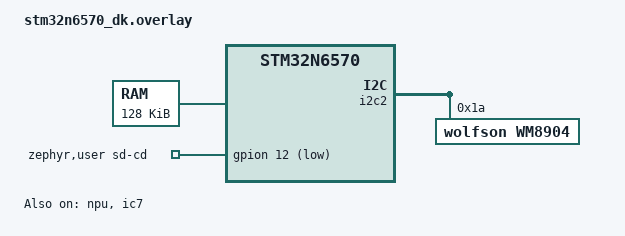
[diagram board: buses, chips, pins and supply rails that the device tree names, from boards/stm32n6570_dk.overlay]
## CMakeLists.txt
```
# SPDX-License-Identifier: Apache-2.0
cmake_minimum_required(VERSION 3.20.0)

# The camera module in the CSI connector: ST B-CAMS-IMX (MB1854, IMX335).
set(SHIELD st_b_cams_imx_mb1854)

# zprof (https://github.com/murr2k/zprof), the tracer, is part of the build: its Zephyr
# module and the demo's settings for it (zprof.conf). West fetches it into zprof/; its
# module sits in firmware/zprof, where module discovery does not look, so it is added
# here. -DZPROF=OFF (n6.cmd --no-zprof) builds without it: the SystemView build, and the
# observer A/B. -DZPROF_DIR=... (n6.cmd --zprof DIR) takes another checkout.
set(zprof_default_dir ${CMAKE_CURRENT_LIST_DIR}/../zprof)
option(ZPROF "zprof, the tracer: its module from ZPROF_DIR and zprof.conf" ON)
set(ZPROF_DIR ${zprof_default_dir} CACHE PATH "zprof checkout (west update fetches it)")
# Under sysbuild, -Dapp_ZPROF and -Dapp_ZPROF_DIR reach this image only in its
# sysbuild cache, which Zephyr's zephyr_get() reads only after find_package: read
# them here. Not given means the default, so a build's choice never sticks.
if(SYSBUILD AND EXISTS "${SYSBUILD_CACHE}")
  get_filename_component(zprof_img "${SYSBUILD_CACHE}" NAME)
  string(REGEX REPLACE "_sysbuild_cache\\.txt$" "" zprof_img "${zprof_img}")
  file(STRINGS "${SYSBUILD_CACHE}" zprof_sb REGEX "^${zprof_img}_ZPROF(_DIR)?:" ENCODING UTF-8)
  set(ZPROF ON)
  set(ZPROF_DIR ${zprof_default_dir})
  foreach(zprof_line ${zprof_sb})
    if(zprof_line MATCHES "^${zprof_img}_ZPROF:[^=]*=(.*)$")
      set(ZPROF ${CMAKE_MATCH_1})
    elseif(zprof_line MATCHES "^${zprof_img}_ZPROF_DIR:[^=]*=(.*)$")
      set(ZPROF_DIR ${CMAKE_MATCH_1})
    endif()
  endforeach()
endif()
if(ZPROF)
  if(NOT EXISTS ${ZPROF_DIR}/firmware/zprof/zephyr/module.yml)
    message(FATAL_ERROR "no zprof at ${ZPROF_DIR}: run west update (or build with -DZPROF=OFF)")
  endif()
  list(APPEND ZEPHYR_EXTRA_MODULES ${ZPROF_DIR}/firmware/zprof)
  list(APPEND EXTRA_CONF_FILE ${CMAKE_CURRENT_LIST_DIR}/zprof.conf)
endif()

find_package(Zephyr REQUIRED HINTS $ENV{ZEPHYR_BASE})
project(n6_demo)

file(GLOB_RECURSE app_sources CONFIGURE_DEPENDS src/*.c)
target_sources(app PRIVATE ${app_sources})
target_include_directories(app PRIVATE src)

# Zephyr's symbol table (CONFIG_SYMTAB) is generated from the first link and
# filled in only in the final one, and its section lies before rodata: in the
# final image everything after it moves up by the table's size (27.8 KB
# here). The interrupt table (isr_tables.c) is generated from the same first
# link with each handler's argument as a literal address, so an argument that
# points into rodata points at something else in the final image: the board
# hung at boot in the EXTI3 interrupt, whose line range (line_range_3, from
# Zephyr's GPIO interrupt driver) was read from a table of doubles
# (2026-11-20). Such arguments go to rom_start, ahead of the table;
# tools/n6.py checks every build for arguments that moved.
if(CONFIG_SYMTAB)
  zephyr_linker_sources(ROM_START SORT_KEY zz_isr_args linker/isr_args.ld)
endif()

# The recorder (src/media/recorder.c) puts its own code in the path between
# ST's encoder library and the Zephyr VENC driver's EWL layer, at link time,
# so the Zephyr tree stays unmodified: the cache is cleaned as the hardware
# starts (EWLEnableHW), the wait for the hardware is longer (EWLWaitHwRdy),
# and the linear memory bypasses the driver's chunk table, which overflows
# after a few encoder starts (EWLMallocLinear and friends).
if(CONFIG_VIDEO_STM32_VENC)
  zephyr_ld_options(
    -Wl,--wrap=EWLEnableHW -Wl,--wrap=EWLWaitHwRdy
    -Wl,--wrap=EWLMallocLinear -Wl,--wrap=EWLFreeLinear
    -Wl,--wrap=EWLMallocRefFrm -Wl,--wrap=EWLFreeRefFrm)
endif()

# The microSD card (src/media/sdcard.c): switched to High Speed (CMD6)
# between Zephyr's driver's HAL_SD_Init() and its 4-bit setup, so that its bus
# may run at 48 MHz; a data timeout of 1 s instead of 89, and no endless wait
# for the card's state, so that a card taken out mid-transfer fails at once.
zephyr_ld_options(-Wl,--wrap=HAL_SD_Init -Wl,--wrap=SDMMC_ConfigData
                  -Wl,--wrap=HAL_SD_GetCardState)

# The web remote's page, gzipped into the image; src/platform/http.c serves
# it at / with Content-Encoding: gzip.
generate_inc_file_for_target(app ${CMAKE_CURRENT_SOURCE_DIR}/src/platform/remote.html
  ${ZEPHYR_BINARY_DIR}/include/generated/remote.html.gz.inc --gzip)

# LVGL's Helium (MVE) blend routines. The Zephyr module build lists the C
# sources but not this assembly file, so without it CONFIG_LV_DRAW_SW_ASM_HELIUM
# fails at link time.
if(CONFIG_LV_DRAW_SW_ASM_HELIUM)
  set(lv_helium_asm ${ZEPHYR_LVGL_MODULE_DIR}/src/draw/sw/blend/helium/lv_blend_helium.S)
  target_sources(app PRIVATE ${lv_helium_asm})
  # Zephyr's lv_conf.h includes <string.h>, which is not valid in assembly.
  # Pre-defining its include guard skips it; the assembly only needs the
  # LV_* values that lv_conf_kconfig.h derives from Kconfig.
  set_source_files_properties(${lv_helium_asm} PROPERTIES
    COMPILE_DEFINITIONS ZEPHYR_MODULES_LVGL_LV_CONF_H_)
endif()

# The NPU: ST's runtime (ll_aton, from the ST Edge AI install) and the
# networks tools/nn.py converts into build-nn/. Both are under ST's licence
# (SLA0044), which forbids open-source terms, so neither is in this
# repository; without them the app builds with the NPU features left out
# (APP_HAS_NPU undefined).
set(NN_DIR ${CMAKE_CURRENT_SOURCE_DIR}/../build-nn)
if(DEFINED ENV{STEDGEAI_CORE_DIR})
  set(STEDGEAI_DIR $ENV{STEDGEAI_CORE_DIR})
else()
  set(STEDGEAI_DIR C:/ST/STEdgeAI/4.0)
endif()
set(ATON ${STEDGEAI_DIR}/Middlewares/ST/AI)
set(NN_NETS palm_detector hand_landmark)
if(CONFIG_APP_NPU AND EXISTS ${ATON}/Npu/ll_aton/ll_aton.c AND EXISTS ${NN_DIR}/nn_weights.h)
  message(STATUS "NPU: networks from ${NN_DIR}, runtime from ${ATON}")
  set(nn_defs
    LL_ATON_PLATFORM=LL_ATON_PLAT_STM32N6
    LL_ATON_OSAL=LL_ATON_OSAL_ZEPHYR
    LL_ATON_RT_MODE=LL_ATON_RT_ASYNC
    LL_ATON_SW_FALLBACK
    LL_ATON_DBG_BUFFER_INFO_EXCLUDED=1
    LL_ATON_EB_DBG_INFO
    APP_HAS_PARALLEL_NETWORKS=0)
  set(nn_incs ${ATON}/Inc ${ATON}/Npu/ll_aton ${ATON}/Npu/Devices/STM32N6xx ${NN_DIR})
  foreach(net ${NN_NETS})
    list(APPEND nn_incs ${NN_DIR}/${net})
  endforeach()

  set(nn_sources)
  set(nn_net_sources)
  foreach(f ll_aton.c ll_aton_osal_zephyr.c ll_aton_debug.c ll_aton_lib.c ll_aton_lib_sw_operators.c
            ll_aton_rt_main.c ll_aton_runtime.c ll_aton_cipher.c ll_aton_stai_internal.c ll_aton_util.c
            ll_sw_float.c ll_sw_integer.c ecloader.c)
    list(APPEND nn_sources ${ATON}/Npu/ll_aton/${f})
  endforeach()
  list(APPEND nn_sources ${ATON}/Npu/Devices/STM32N6xx/npu_cache.c ${ATON}/Npu/Devices/STM32N6xx/mcu_cache.c)
  foreach(net ${NN_NETS})
    list(APPEND nn_net_sources ${NN_DIR}/${net}/${net}.c ${NN_DIR}/${net}/stai_${net}.c)
  endforeach()
  target_sources(app PRIVATE ${nn_sources} ${nn_net_sources})
  # vendor and generated code: not ours to fix
  set_source_files_properties(${nn_sources} PROPERTIES COMPILE_OPTIONS -w)
  set_source_files_properties(${nn_net_sources} PROPERTIES COMPILE_OPTIONS
    "-w;-include;${CMAKE_CURRENT_SOURCE_DIR}/src/nn/st_sections.h")
  target_link_libraries(app PRIVATE ${ATON}/Lib/GCC/ARMCortexM55/NetworkRuntime1201_CM55_GCC.a)
  target_include_directories(app PRIVATE ${nn_incs})
  target_compile_definitions(app PRIVATE APP_HAS_NPU=1 ${nn_defs})
  # the test inputs (tools/nn.py testimg) are in the flash beside the weights
  # (tools/nn.py flash), not in the image: nn_weights.h says where
endif()
```

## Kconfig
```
# Application Kconfig.
# SPDX-License-Identifier: Apache-2.0

# The media path drives the JPEG codec, DMA2D, the SAI (audio out, with a
# circular GPDMA transfer) and the MDF (microphone in) through the ST HAL directly:
# Zephyr 4.4.0's JPEG driver only encodes. These HAL modules are hidden
# symbols that drivers normally select, so select them here.
config APP_MEDIA
	bool "Hardware JPEG decode path"
	default y
	select USE_STM32_HAL_JPEG
	select USE_STM32_HAL_DMA2D
	select USE_STM32_HAL_SAI
	select USE_STM32_HAL_MDF
	select USE_STM32_HAL_DMA
	select USE_STM32_HAL_DMA_EX

# The N657's Cortex-M55 has a double-precision FPU (MVFR0 = 0x10110221, FPDP
# field = 2), but Zephyr 4.4.0's SoC definition only selects CPU_HAS_FPU, so
# the build used -mfpu=fpv5-sp-d16 and every `double` operation was a library
# call. That cost Explorer 2 to 5 ms a frame.
config APP_FPU_DOUBLE
	bool "Use the double-precision FPU"
	default y
	select CPU_HAS_FPU_DOUBLE_PRECISION

# The NPU: ST's runtime (built only when build-nn/ holds converted networks,
# see tools/nn.py) maintains the NPU cache through the HAL and installs its
# interrupt handlers at run time.
config APP_NPU
	bool "NPU runtime support"
	default y
	select USE_STM32_HAL_CACHEAXI
	select DYNAMIC_INTERRUPTS

# ctl.py "crash N": a fault on purpose, to test zprof's fault capture and the
# demo's fault alarms (tour.py does). Like the control port's other test
# commands it has no login: anyone on the LAN could stop part of the demo, or
# with "crash 4" the whole board. A build for an untrusted network leaves it out.
config APP_CRASH_TEST
	bool "The crash test command on the control port"
	default y

source "Kconfig.zephyr"
```

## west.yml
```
# west manifest for the STM32N6570-DK graphics demo.
# T3 topology: the project root is the west workspace, this app holds the
# manifest, Zephyr and its modules are cloned beside it by `west update`.
#
# Pinned to v4.4.0, the same tag the sibling STM32N6570-DK project boots.
# STM32N6 support on main still churns; bump deliberately, not by default.
manifest:
  remotes:
    - name: zephyrproject-rtos
      url-base: https://github.com/zephyrproject-rtos
    - name: stm32-hotspot
      url-base: https://github.com/stm32-hotspot

  projects:
    - name: zephyr
      remote: zephyrproject-rtos
      revision: v4.4.0
      import:
        name-allowlist:
          - cmsis
          - cmsis_6
          - cmsis-dsp
          - hal_stm32
          - hal_st
          - picolibc
          - segger
          - mbedtls
          - mbedtls-3.6
          - tf-psa-crypto
          - mcuboot
          - zcbor
          - lvgl
          - littlefs
          - fatfs

    # ST's camera ISP (auto exposure, white balance, colour) for the DCMIPP
    # driver, tuned for the IMX335. Licence: ST SLA0044, use on ST devices;
    # it must not be put under open-source terms, so it is fetched here and
    # never copied into this repository.
    - name: zephyr-stm32-mw-isp
      remote: stm32-hotspot
      revision: v0.4.0
      path: st/lib/zephyr-stm32-mw-isp
      submodules: true

    # zprof (Apache-2.0): runtime tracing and timing analysis over the board's
    # Ethernet, in the browser; part of every build. Its Zephyr module is in
    # firmware/zprof, where module discovery does not look (it reads only
    # <project>/zephyr/module.yml), so app/CMakeLists.txt adds it, with the
    # demo's settings in app/zprof.conf. Its host tools (the bridge, the
    # dashboard) run from this checkout too.
    - name: zprof
      url: https://github.com/murr2k/zprof
      revision: v0.7.0
      path: zprof

  self:
    path: app
```

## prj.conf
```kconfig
# --- kernel / libc -----------------------------------------------------------
# Internal RAM is the scarce resource (840 KB, two frame buffers take the
# rest of the SRAM): sizes follow measured peaks, 2026-11-19 after a tour
# (ctl.py mem stacks): main stack 5.8 KB used, kernel heap 140 B (getaddrinfo).
CONFIG_MAIN_STACK_SIZE=10240
CONFIG_SYSTEM_WORKQUEUE_STACK_SIZE=4096
CONFIG_HEAP_MEM_POOL_SIZE=16384
CONFIG_FPU=y
CONFIG_PICOLIBC_IO_FLOAT=y
CONFIG_SPEED_OPTIMIZATIONS=y
CONFIG_THREAD_NAME=y
CONFIG_THREAD_MONITOR=y
CONFIG_THREAD_RUNTIME_STATS=y
CONFIG_SCHED_THREAD_USAGE=y
CONFIG_SCHED_THREAD_USAGE_ALL=y
CONFIG_SYS_HEAP_RUNTIME_STATS=y

# --- console / logging -------------------------------------------------------
# Deferred: immediate mode masks interrupts for a whole UART line (milliseconds).
# To chase an early hang, build with: n6.cmd build -- -Dapp_EXTRA_CONF_FILE=debug.conf
CONFIG_LOG=y
CONFIG_LOG_MODE_DEFERRED=y
CONFIG_LOG_BUFFER_SIZE=8192
CONFIG_LOG_PROCESS_THREAD_STACK_SIZE=2048
CONFIG_PRINTK=y

# --- display -----------------------------------------------------------------
# FB_NUM=0: the app owns both frame buffers and swaps the LTDC layer's
# address itself (present() in src/platform/gfx.c, no copy); the driver sets
# up the LTDC and the panel.
CONFIG_DISPLAY=y
CONFIG_STM32_LTDC_ARGB8888=y
CONFIG_STM32_LTDC_FB_NUM=0

# --- LVGL --------------------------------------------------------------------
# The app creates the display and input devices itself (src/platform), so the
# Zephyr glue only supplies the heap and lv_conf.
CONFIG_LVGL=y
CONFIG_LV_Z_AUTO_INIT=n
CONFIG_LV_Z_BUFFER_ALLOC_DYNAMIC=y
CONFIG_LV_Z_POINTER_INPUT=n
CONFIG_LV_Z_FLUSH_THREAD=n
# Every screen's objects are built at boot and kept: 100 KB in use, 108 KB
# peak after a tour (2026-11-19; Home Power added about 13 KB).
CONFIG_LV_Z_MEM_POOL_SIZE=196608
CONFIG_LV_COLOR_DEPTH_32=y
CONFIG_LV_DEF_REFR_PERIOD=4
CONFIG_LV_DPI_DEF=160
CONFIG_LV_DRAW_SW_ASM_HELIUM=y
CONFIG_LV_USE_NATIVE_HELIUM_ASM=y
CONFIG_LV_USE_DRAW_SW_COMPLEX_GRADIENTS=y
CONFIG_LV_USE_FLOAT=y
CONFIG_LV_USE_THEME_DEFAULT=n
CONFIG_LV_USE_SNAPSHOT=y
CONFIG_LV_USE_CANVAS=y
CONFIG_LV_USE_QRCODE=y
CONFIG_LV_FONT_MONTSERRAT_14=y
CONFIG_LV_USE_LOG=y
CONFIG_LV_LOG_LEVEL_WARN=y

# --- touch -------------------------------------------------------------------
CONFIG_INPUT=y
CONFIG_INPUT_GT911_INTERRUPT=y
CONFIG_INPUT_GT911_MAX_TOUCH_POINTS=5
# Callbacks run in the reporting context (the GT911 work item), not through
# Zephyr's 16-event queue and lowest-priority thread: the driver sends 4
# events per contact in one burst and the queue drops what does not fit,
# releases included (a contact then stays down for good).
CONFIG_INPUT_MODE_SYNCHRONOUS=y

# --- stacks and symbols ---------------------------------------------------------
# Stacks are filled with a pattern at thread creation, so `ctl.py stacks` can
# show each thread's high-water mark (k_thread_stack_space_get).
CONFIG_INIT_STACKS=y
# Every function's name in the image (about 95 KB of flash): a fault prints its
# call trace with names (the extra exception information turns on the stack
# walk and its unwind tables, 23 KB). See app/CMakeLists.txt for the linker
# snippet the symbol table needs.
CONFIG_SYMTAB=y
CONFIG_EXTRA_EXCEPTION_INFO=y

# --- camera ---------------------------------------------------------------------
# IMX335 through the DCMIPP (shield set in CMakeLists.txt). The frame buffers
# are in PSRAM, imported (media/camera.c); the video layer's own pool, which
# would sit in internal RAM, only needs its minimum.
CONFIG_VIDEO=y
CONFIG_VIDEO_BUFFER_POOL_NUM_MAX=4
CONFIG_VIDEO_BUFFER_POOL_HEAP_SIZE=4096
# ST's ISP (west module zephyr-stm32-mw-isp, licence SLA0044): exposure,
# white balance and colour for the IMX335
CONFIG_USE_STM32_MW_ISP=y

# --- recorder ---------------------------------------------------------------------
# The hardware H.264 encoder (VENC). The driver brings ST's encoder library
# (BSD-3-Clause, with the HAL) and its memory pool, which the board puts in
# PSRAM; the recorder (media/recorder.c) calls the library itself. 800 x 480
# needs far less than the default 7 MB.
CONFIG_VIDEO_ENCODER_H264=y
CONFIG_VIDEO_STM32_VENC_HEAP_SIZE=3145728

# --- network -----------------------------------------------------------------
CONFIG_NETWORKING=y
CONFIG_NET_IPV4=y
CONFIG_NET_IPV6=n
CONFIG_NET_TCP=y
CONFIG_NET_UDP=y
CONFIG_NET_DHCPV4=y
CONFIG_NET_SOCKETS=y
CONFIG_POSIX_API=y
CONFIG_NET_MGMT=y
CONFIG_NET_MGMT_EVENT=y
CONFIG_NET_MGMT_EVENT_INFO=y
CONFIG_NET_HOSTNAME_ENABLE=y
CONFIG_NET_HOSTNAME="n6demo"
CONFIG_NET_STATISTICS=y
CONFIG_NET_STATISTICS_ETHERNET=y
CONFIG_NET_STATISTICS_USER_API=y
CONFIG_NET_PKT_RX_COUNT=48
CONFIG_NET_PKT_TX_COUNT=48
CONFIG_NET_BUF_RX_COUNT=128
CONFIG_NET_BUF_TX_COUNT=128
CONFIG_NET_BUF_DATA_SIZE=512
CONFIG_NET_TCP_WORKQ_STACK_SIZE=2048
# The Ethernet receive thread and the TCP work queue stay cooperative but run
# below the audio refill (K_PRIO_COOP(2)) and the microphone (3): at their
# default, 2, they were the audio threads' largest interference, a network
# burst ahead of a refill (zprof, 2026-11-22). 4 is K_PRIO_COOP(4), still above
# every preemptible thread.
CONFIG_ETH_STM32_HAL_RX_THREAD_PRIO=4
CONFIG_NET_TCP_WORKER_PRIO=4
CONFIG_NET_RX_STACK_SIZE=4096
CONFIG_NET_TX_STACK_SIZE=2048
CONFIG_NET_MGMT_EVENT_STACK_SIZE=3072
# Three services (screenshots, control, host link) plus their accepted
# connections: the defaults (4 handlers, 6 contexts) run out and new
# connections are refused.
CONFIG_NET_MAX_CONN=16
CONFIG_NET_MAX_CONTEXTS=16
# SO_RCVTIMEO / SO_SNDTIMEO are applied only with these: without them the
# servers' idle timeouts (control 5 s, upload 10 s, screenshot) were silently
# ignored, and a client that left its connection open held the port, served
# one client at a time, until a restart (found 2026-11-19).
CONFIG_NET_CONTEXT_RCVTIMEO=y
CONFIG_NET_CONTEXT_SNDTIMEO=y
CONFIG_ZVFS_OPEN_MAX=24
# Announce the address when it is assigned. Without this a host that kept
# sending to the board while it power-cycled (the companion) holds a stale
# ARP entry and Windows does not resolve the board again for up to a minute.
CONFIG_NET_ARP_GRATUITOUS_TRANSMISSION=y
# Names, for Home Power's energy monitor (platform/homepower.c): the server
# comes from DHCP, or is the gateway with a fixed address (net.c).
CONFIG_DNS_RESOLVER=y
CONFIG_DNS_SERVER_IP_ADDRESSES=n

# --- microSD card (media library) --------------------------------------------
# FAT32 and exFAT, long names. Never format: the card is the user's.
CONFIG_DISK_ACCESS=y
CONFIG_FILE_SYSTEM=y
CONFIG_FAT_FILESYSTEM_ELM=y
CONFIG_FS_FATFS_MOUNT_MKFS=n
CONFIG_FS_FATFS_EXFAT=y
CONFIG_FS_FATFS_LFN=y
CONFIG_FS_FATFS_LFN_MODE_STACK=y
CONFIG_FS_FATFS_MAX_LFN=128
# Three threads use the card: the player's reader, the upload service and the
# UI thread when it scans the library.
CONFIG_FS_FATFS_REENTRANT=y
# The SDMMC's internal DMA writes straight into the caller's buffer and the
# driver invalidates the data cache over it: keep FatFs's own sector buffer on
# cache-line boundaries.
CONFIG_FS_FATFS_WINDOW_ALIGNMENT=32
CONFIG_SDMMC_STM32_HWFC=y

# --- DSP ---------------------------------------------------------------------
CONFIG_CMSIS_DSP=y
CONFIG_CMSIS_DSP_TRANSFORM=y
CONFIG_CMSIS_DSP_FASTMATH=y
CONFIG_CMSIS_DSP_BASICMATH=y
CONFIG_CMSIS_DSP_STATISTICS=y

# --- audio -------------------------------------------------------------------
CONFIG_AUDIO=y
CONFIG_AUDIO_CODEC=y
CONFIG_NOCACHE_MEMORY=y
```

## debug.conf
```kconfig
# Bring-up overlay: log synchronously so an early hang still prints. Breaks audio.
CONFIG_LOG_MODE_DEFERRED=n
CONFIG_LOG_MODE_IMMEDIATE=y
```

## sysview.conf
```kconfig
# SEGGER SystemView build: every thread switch, interrupt and kernel call,
# streamed over RTT to SystemView through a J-Link (the J-Trace on CN10).
# Not the release firmware: tracing costs time on every event, and flash.
# Built into its own directory so build/ stays the release, and without zprof
# (--no-zprof): SystemView and zprof are both Zephyr tracing formats, one per build:
#   n6.cmd -d build-sysview build -p --no-zprof -- '-Dapp_EXTRA_CONF_FILE=sysview.conf'
# (quoted: PowerShell splits an unquoted -D argument at the dot)
#   n6.cmd -d build-sysview go --app-only --no-zprof -- '-Dapp_EXTRA_CONF_FILE=sysview.conf'
# and back to the release: n6.cmd go --app-only
CONFIG_TRACING=y
CONFIG_SEGGER_SYSTEMVIEW=y
CONFIG_SEGGER_SYSVIEW_RTT_BUFFER_SIZE=16384
CONFIG_SEGGER_SYSVIEW_APP_NAME="stm32n6-demo"
```

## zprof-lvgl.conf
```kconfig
# LVGL's own profiler points as zprof spans: a development build only.
#   .\n6.cmd build -- -Dapp_EXTRA_CONF_FILE=zprof-lvgl.conf    (every LVGL source compiles again)
# Then zprof_bridge capture --spans 20 shows what a frame is made of (layout, refresh,
# draw tasks, events), and summary --frames-with "Flight Deck" that screen's first
# frames. Not in the normal build: 6.5 KB of flash, and while recording, a frame that
# draws a whole screen makes about 4,000 spans and runs about a fifth longer (Deck's
# first frame 12.9 ms became 15.4 ms, 2026-11-23): read spans for structure, time frames
# from a build or a capture without them. Off (no client asking), the transition test
# could not tell it from the normal build.
# SPDX-License-Identifier: Apache-2.0

CONFIG_ZPROF_LVGL=y
CONFIG_LV_USE_PROFILER_BUILTIN=n
# per glyph, per cache or file access, per input read: thousands of calls for little
CONFIG_LV_PROFILER_FONT=n
CONFIG_LV_PROFILER_CACHE=n
CONFIG_LV_PROFILER_FS=n
CONFIG_LV_PROFILER_INDEV=n
```

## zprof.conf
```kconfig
# zprof, the tracer (https://github.com/murr2k/zprof), in every build of the demo:
# app/CMakeLists.txt adds this file and zprof's module unless built with -DZPROF=OFF
# (n6.cmd --no-zprof). The bridge finds the board by prof=5560 in its discovery answer.
# SPDX-License-Identifier: Apache-2.0

CONFIG_TRACING=y
CONFIG_TRACING_CUSTOM=y
CONFIG_ZPROF=y

# The sender just below the UI thread (0): at the module's default (14) the
# NPU's 65 to 130 ms runs and the video decoder starved it and the ring
# overflowed (3.6 million records of a tour lost with kernel-object events). It
# wakes every 10 ms for a short send; the demo's deadlines decide (tour.py).
CONFIG_ZPROF_SENDER_PRIO=1

# The demo's network bursts (a 1.5 MB screenshot, uploads) make up to 130,000
# events a second; 32 KB dropped 0.13 % of the events of a tour, in those
# bursts. It sits in the M55's DTCM, not internal RAM (zprof's ZPROF_RING_DTCM,
# on because the overlay chooses zephyr,dtcm).
CONFIG_ZPROF_RING_SIZE=65536

# Capture-then-upload: 4 MB of PSRAM (from psram_alloc, taken at the first capture;
# about 7.8 MB are free after a tour), 16 s at 250 KB/s of events.
CONFIG_ZPROF_CAPTURE_KB=4096

# The M55's PMU, counted by zprof (opt-in: zprof takes the PMU over; the demo
# does not use it otherwise).
CONFIG_ZPROF_PMU=y

# Faults: the demo's choice, not zprof's default. A thread that faults (not
# main, idle or an interrupt) is ended and the demo runs on, so it stays on the
# network to report it; the status bar, Settings, /status.json and the web
# remote name the dead thread. Right for a demo with no power stage or motor
# to leave in a bad state; a product chooses its own policy.
CONFIG_ZPROF_FAULT=y
CONFIG_ZPROF_FAULT_HANDLER=y
CONFIG_ZPROF_FAULT_CONTINUE=y

# Bus records (zprof's protocol analyzer, opt-in): I2C messages and card
# transfers, their timing only, recorded only while a client asks. Left out:
# the I2C data bytes (CONFIG_ZPROF_BUS_I2C_DATA) and Ethernet capture (frame
# headers name every host the board talks to), since zprof's port has no login.
CONFIG_ZPROF_BUS=y

# Where the time goes inside a frame (opt-in in zprof; recorded only while a client
# asks): PC samples from TIM7 (prof.c; zprof_bridge --sample 4000, about 0.1 % of the
# CPU) and spans (--spans; the screen switch is one, named after the screen entered).
# LVGL's own profiler points as spans are a development build: zprof-lvgl.conf.
CONFIG_ZPROF_SPANS=y
CONFIG_ZPROF_SAMPLE=y

# Default y with TRACING, and wrong for zprof: every syscall site would be a
# hook, and the network classes (sockets, IP core) would trace zprof's own
# packets.
CONFIG_TRACING_SYSCALL=n
CONFIG_TRACING_NETWORKING=n
CONFIG_TRACING_PM=n
```

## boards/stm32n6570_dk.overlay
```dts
/*
 * STM32N6570-DK application overlay.
 * SPDX-License-Identifier: Apache-2.0
 */

/*
 * Internal SRAM layout. FLEXRAM + AXISRAM1 + AXISRAM2 (2 MB at 0x3400_0000)
 * and AXISRAM3..6 (1.75 MB at 0x3420_0000) are contiguous: 3.75 MB in total.
 * The two 800x480 ARGB8888 frame buffers (1.5 MB each) take the top 3 MB
 * because internal SRAM measured 2 to 4 times faster than the PSRAM:
 *
 *   0x3400_0000  840 KB   application RAM (this node): 400 KB of FLEXRAM, then AXISRAM1
 *   0x340D_2000  1.5 MB   frame buffer A   (see src/platform/gfx.c)
 *   0x3424_9000  1.5 MB   frame buffer B
 *   0x343C_0000  end
 *
 * Shrinking the region makes the linker fail loudly if the app outgrows it,
 * instead of silently growing into frame buffer A.
 */
&axisram1 {
	reg = <0x0 DT_SIZE_K(840)>;
};

/*
 * AXISRAM3..6 are powered down and unclocked out of reset. Enabling the nodes
 * makes the stm32n6_axisram driver switch them on before the kernel starts.
 */
/*
 * Image slots of 2 MB instead of the board's 1.5 MB: the NPU's networks bring
 * their epoch-controller programs into the image. Slot 0 grows into the gap
 * the board leaves before slot 1, slot 1 up to the storage partition at
 * 0x41_0000. MCUboot must see the same table: app/sysbuild/mcuboot.overlay.
 */
&slot0_partition {
	reg = <0x00010000 DT_SIZE_M(2)>;
};

&slot1_partition {
	reg = <0x00210000 DT_SIZE_M(2)>;
};
/* The NPU: Zephyr's driver clocks and resets it and enables its cache. */
&npu {
	status = "okay";
};

&axisram3 {
	status = "okay";
};

&axisram4 {
	status = "okay";
};

&axisram5 {
	status = "okay";
};

&axisram6 {
	status = "okay";
};

/*
 * The Cortex-M55's data TCM: 128 KB at 0x3000_0000 (the secure alias),
 * single-cycle, uncached, reachable by the core only. Zephyr v4.4.0's N6
 * devicetree has no node for it. Chosen as zephyr,dtcm, Zephyr links
 * .dtcm_bss, .dtcm_noinit and .dtcm_data into it and zeroes .dtcm_bss at boot
 * (which gives the ECC its first writes); zprof puts its event ring there
 * (ZPROF_RING_DTCM). Nothing a DMA or another bus master must read goes here.
 */
/ {
	chosen {
		zephyr,dtcm = &dtcm;
	};

	dtcm: memory@30000000 {
		compatible = "zephyr,memory-region", "arm,dtcm";
		reg = <0x30000000 DT_SIZE_K(128)>;
		zephyr,memory-region = "DTCM";
	};
};

/*
 * Panel refresh. Stock settings give a 20 MHz pixel clock from the HSI-fed
 * PLL4 and 820 x 500 total: 48.8 Hz. Feed the LTDC 25 MHz from the
 * crystal-fed PLL1 (2400 MHz / 96) and stretch the front porches to
 * 832 x 501 total: 25e6 / 416832 = 59.98 Hz.
 */
&ic16 {
	pll-src = <1>;
	ic-div = <96>;
};

&ltdc {
	display-timings {
		hfront-porch = <20>;
		vfront-porch = <9>;
	};
};

/*
 * The OTP MAC address cell on this board is unprogrammed (reads back as
 * 00:00:00:00:00:00), so use a fixed locally administered address instead.
 * A fixed address keeps the DHCP lease, and so the IP, stable across builds.
 */
&mac {
	/delete-property/ nvmem-cells;
	/delete-property/ nvmem-cell-names;
	local-mac-address = [02 80 e1 4e 36 01];
};

/*
 * Audio out: SAI1 block A is the I2S master into the WM8904 codec, which sits
 * on I2C2 next to the touch controller. The SAI kernel clock is IC7 = PLL2 /
 * 125 = 1536 MHz / 125 = 12.288 MHz, exactly 256 x 48 kHz, so MCLK needs no
 * further division. PLL2 runs from the HSI, so the absolute pitch is only as
 * good as that oscillator; video is slaved to the audio clock, so this never
 * shows as drift.
 *
 * The SAI and its DMA channel are driven by the application through the ST
 * HAL (src/platform/audio.c), so &sai1_a and &gpdma1 stay disabled here. The
 * audio DMA buffer lives in AHBSRAM1 (0x3800_0000), not in the map above.
 */
&ic7 {
	pll-src = <2>;
	ic-div = <125>;
	status = "okay";
};

&i2c2 {
	wm8904: wm8904@1a {
		compatible = "wolfson,wm8904";
		reg = <0x1a>;
		clock-source = "MCLK";
		clocks = <&audio_mclk 0>;
		clock-names = "mclk";
	};
};

/*
 * microSD card on SDMMC2, 4 bits, 48 MHz kernel clock from IC4 (the board file
 * sets that up). Use the peripheral's internal DMA: in interrupt mode the CPU
 * moves the data itself, one interrupt per 32 bytes, which at the card's
 * 12 MB/s works out to about 370 000 a second: frame time taken from the UI.
 * The DMA is a bus master of its own and gets its RIF master attributes in
 * src/media/sdcard.c; Zephyr's SoC code does not set them for the SDMMC.
 *
 * clk-div 1: the card comes up at 24 MHz (on this SDMMC, kernel clock /
 * (2 x clk-div); the binding's own formula is the older block's), within
 * Default Speed's 25 MHz. src/media/sdcard.c then switches it to High Speed
 * (CMD6) and, if it agrees, clears the divider: the bus at 48 MHz. Left at 0,
 * the HAL ran the bus at 48 MHz in Default Speed, out of the specification.
 *
 * The card-detect pin is taken from the driver and watched by the app
 * (sdcard.c, zephyr,user sd-cd-gpios below): the driver's own handler
 * deinitialised the controller from the system work queue under a transfer
 * in flight (which then waited for ever), turned the detect interrupt off
 * (so a card put back went unnoticed) and left the disk's reference count at
 * one (so a later mount did not initialise the card). The app unmounts with
 * the card's locks held, which deinitialises the disk properly, and mounts
 * again when a card is back.
 */
&sdmmc2 {
	idma;
	clk-div = <1>;
	/delete-property/ cd-gpios;
};

/ {
	zephyr,user {
		sd-cd-gpios = <&gpion 12 GPIO_ACTIVE_LOW>;
	};

	/* What the WM8904 driver queries for the MCLK rate; the SAI generates it. */
	audio_mclk: audio-mclk {
		compatible = "n6demo,audio-mclk";
		clock-frequency = <12288000>;
		#clock-cells = <1>;
	};

	audio_out: audio-out {
		compatible = "n6demo,audio-out";
		pinctrl-0 = <&sai1_mclk_a_pg7 &sai1_sck_a_pb6 &sai1_sd_a_pb7 &sai1_fs_a_pb0>;
		pinctrl-names = "default";
	};
};
```

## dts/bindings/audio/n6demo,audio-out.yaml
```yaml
# SPDX-License-Identifier: Apache-2.0

description: |
  Audio output pins. The application drives SAI1 block A through the ST HAL
  with a circular DMA transfer (src/platform/audio.c), so the SAI node itself
  stays disabled and this node only carries the pin configuration.

compatible: "n6demo,audio-out"

include: [base.yaml, pinctrl-device.yaml]
```

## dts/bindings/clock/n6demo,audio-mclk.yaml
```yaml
# SPDX-License-Identifier: Apache-2.0

description: |
  Fixed-rate audio master clock.

  Zephyr's WM8904 driver asks a clock controller to enable MCLK and report its
  rate, using a one-cell specifier named "name" (the NXP convention). On this
  board MCLK comes from the SAI itself, so this node only has to answer with
  the configured frequency.

compatible: "n6demo,audio-mclk"

include: [clock-controller.yaml, base.yaml]

properties:
  clock-frequency:
    type: int
    required: true

  "#clock-cells":
    const: 1

clock-cells:
  - name
```

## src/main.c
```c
/*
 * STM32N6570-DK demo: entry point and UI loop.
 *
 * SPDX-License-Identifier: Apache-2.0
 */
#include <zephyr/kernel.h>
#include <zephyr/logging/log.h>

#include <soc.h>
#include <stm32n6xx_hal.h>

#include "dsp/sig.h"
#include "platform/audio.h"
#include "platform/ctl.h"
#include "platform/gfx.h"
#include "platform/homepower.h"
#include "platform/mic.h"
#include "platform/net.h"
#include "platform/tele.h"
#include "platform/touch.h"
#include "screens/screens.h"
#include "ui/shell.h"

LOG_MODULE_REGISTER(app, LOG_LEVEL_INF);

static const struct screen *const screens[] = {
	&screen_home,
	&screen_deck,
	&screen_siglab,
	&screen_explorer,
	&screen_touchlab,
	&screen_hostlink,
	&screen_coremap,
	&screen_cinema,
	&screen_specimen,
	&screen_settings,
	&screen_camera,
	&screen_power, /* listed only while the energy monitor answers */
};

/* The attract lap: "N6: the film" up to its last scene, the demos, each
 * arriving on a bar line of the film's music (2.4 s a bar, 100 BPM), then the
 * film's last scene and the music's coda. One clip on the card carries the
 * music for the whole lap (media/film/attract.py makes it; its DEMOS lists
 * the same screens and bars): Cinema plays it, and it plays on, sound only,
 * under the demos. The ghost plays the theremin quietly over a break. After
 * Signal Lab, Cinema shows four bars of the clip's picture: the Camera screen
 * tracking two hands, recorded on this board (the lap does not open the
 * camera itself). After the coda, end titles (7.2 s, then 12 s held and a
 * 1.5 s fade) and 2 s of black: the lap's end is not on a bar line.
 * Without the clip (no card), or with one of another length, the screens
 * take turns as before. */
#define BAR_MS 2400
#define LAP_MS (52 * BAR_MS + 22700)

static const struct shell_step lap_steps[] = {
	{&screen_cinema, 0},              /* the film to 0:43.2 */
	{&screen_home, 18 * BAR_MS},
	{&screen_deck, 20 * BAR_MS},
	{&screen_siglab, 24 * BAR_MS},    /* three bars: the break, the ghost's flight */
	{&screen_cinema, 27 * BAR_MS},    /* the recorded gestures */
	{&screen_explorer, 31 * BAR_MS},
	{&screen_hostlink, 39 * BAR_MS},
	{&screen_coremap, 43 * BAR_MS},
	{&screen_cinema, 50 * BAR_MS},    /* the film's last scene, the coda, the end titles */
};

static bool lap_available(void)
{
	uint32_t ms = cinema_lap_length_ms();

	if (ms != 0 && ms != LAP_MS) {
		LOG_WRN("the attract lap's clip is %u ms, the lap %u ms: the screens take turns instead",
			ms, LAP_MS);
	}
	return ms == LAP_MS;
}

static const struct shell_program lap = {
	.steps = lap_steps,
	.n_steps = ARRAY_SIZE(lap_steps),
	.lap_ms = LAP_MS,
	.available = lap_available,
	.start = cinema_lap_start,
	.clock_ms = cinema_lap_ms,
};

/* Lock the secure and privileged attributes that Zephyr gave the bus slaves
 * at boot (soc_rif_config in its N6 SoC code) until the next reset. Why:
 * SEGGER SystemView's stop of a J-Link recording (V4.10b, J-Link V9.96a)
 * writes 0 into RIFSC RISC_SECCFGR3 from the debug port, measured
 * 2026-11-21 within 0.15 s of the stop. That makes LTDC layer 1 non-secure;
 * its reads of the frame buffers are then refused by the AXISRAM firewalls
 * (RISAF2/3 log them) and come back as zeros, alpha 0: the panel shows the
 * near-black background until a power cycle, while everything else runs on.
 * The same register holds JPEG, VENC, DMA2D and the NPU. Nothing in the app
 * changes these slaves afterwards (sdcard.c sets SDMMC2's own, not locked). */
static void rif_lock(void)
{
	static const uint32_t slaves[] = {
		RIF_RISC_PERIPH_INDEX_ADC12, RIF_RISC_PERIPH_INDEX_DCMIPP, RIF_RISC_PERIPH_INDEX_DMA2D,
		RIF_RISC_PERIPH_INDEX_ETH1, RIF_RISC_PERIPH_INDEX_JPEG, RIF_RISC_PERIPH_INDEX_LTDCL1,
#ifdef NPU_PRESENT
		RIF_RISC_PERIPH_INDEX_NPU,
#endif
		RIF_RISC_PERIPH_INDEX_VENC,
	};

	for (size_t i = 0; i < ARRAY_SIZE(slaves); i++) {
		HAL_RIF_RISC_SlaveConfigLock(slaves[i]);
	}
}

int main(void)
{
	rif_lock();

	int ret = gfx_init();

	if (ret != 0) {
		LOG_ERR("display init failed (%d)", ret);
		return 0;
	}
	touch_init();
	if (audio_init() != 0) {
		LOG_WRN("no audio output; video will run on the system clock");
	}
	if (mic_init() != 0) {
		LOG_WRN("no microphone; Signal Lab has its generator only");
	}
	sig_init();
	net_start();
	homepower_start();
	shell_init(screens, ARRAY_SIZE(screens));
	shell_set_program(&lap);
	LOG_INF("ui up");

	for (;;) {
		int arg;

		switch (ctl_poll(&arg)) {
		case CTL_SCREEN:
			shell_note_input();
			shell_goto(arg);
			break;
		case CTL_HUD:
			shell_toggle_hud();
			break;
		case CTL_ATTRACT:
			shell_start_attract();
			break;
		case CTL_PLAY:
			shell_note_input();
			for (int i = 0; i < (int)ARRAY_SIZE(screens); i++) {
				if (screens[i] == &screen_cinema) {
					shell_goto(i);
				}
			}
			cinema_play(arg);
			break;
		case CTL_HOME_TILES:
			home_test_tiles(arg);
			break;
		case CTL_EXPLORER_VIEW:
			explorer_test_view(arg);
			break;
		case CTL_CRASH:
			/* a fault on the UI thread, on purpose (ctl.c "crash 4"): essential,
			 * so zprof's handler halts the board; n6.cmd fault reads the record */
			__asm__ volatile("udf #1");
			break;
		case CTL_INPUT:
			shell_note_input();
			break;
		default:
			break;
		}
		uint32_t t0 = gfx_now_us();

		tele_poll(k_uptime_get_32());
		shell_cost_tele(gfx_now_us() - t0);
		shell_tick();
		gfx_run_frame();
	}
	return 0;
}
```
